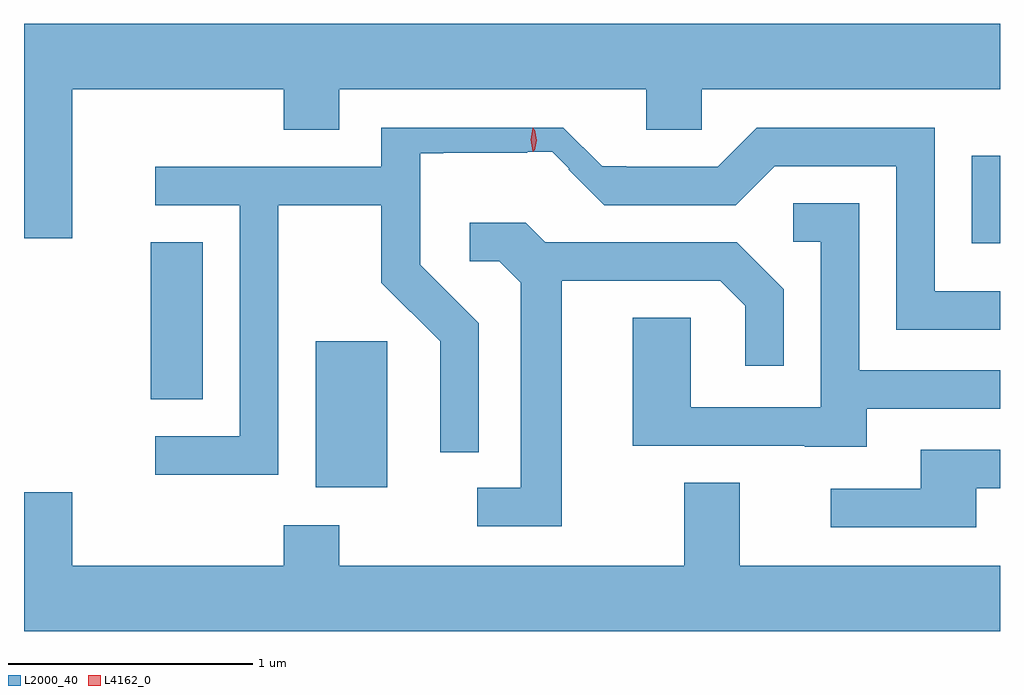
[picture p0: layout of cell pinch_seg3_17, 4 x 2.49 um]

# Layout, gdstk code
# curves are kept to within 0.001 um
import gdstk
lib = gdstk.Library(unit=1e-6, precision=1e-09)
def R(c, l, rs):  # rectangles x0, y0, x1, y1
    for r in rs: c.add(gdstk.rectangle(r[:2], r[2:], *l))
def P(c, l, *ps):  # polygons
    for p in ps: c.add(gdstk.Polygon(p, *l))
L2000_40 = (2000, 40)
L4162_0 = (4162, 0)

pinch_seg3_17 = lib.new_cell('pinch_seg3_17')
R(pinch_seg3_17, L2000_40, [(855.701,1242.046,855.994,1242.644), (855.026,1242.406,855.239,1243.049), (858.391,1243.046,858.506,1243.403)])
P(pinch_seg3_17, L2000_40, [(854.704,1243.676),(855.571,1243.676),(855.571,1243.511),(855.799,1243.511),(855.799,1243.676),(857.056,1243.676),(857.056,1243.511),(857.284,1243.511),(857.284,1243.676),(858.506,1243.676),(858.506,1243.944),(854.506,1243.944),(854.506,1243.066),(854.704,1243.066)],
  [(855.549,1243.201),(855.971,1243.201),(855.971,1242.884),(856.211,1242.644),(856.211,1242.188),(856.369,1242.188),(856.369,1242.717),(856.129,1242.957),(856.129,1243.415),(856.225,1243.415),(856.225,1243.417),(856.569,1243.417),(856.569,1243.42),(856.67,1243.42),(856.74,1243.35),(856.737,1243.348),(856.884,1243.201),(857.422,1243.201),(857.582,1243.361),(858.081,1243.361),(858.081,1242.691),(858.506,1242.691),(858.506,1242.849),(858.239,1242.849),(858.239,1243.519),(857.509,1243.519),(857.349,1243.359),(856.876,1243.36),(856.717,1243.519),(855.971,1243.519),(855.971,1243.359),(855.043,1243.359),(855.043,1243.201),(855.391,1243.201),(855.391,1242.254),(855.043,1242.254),(855.043,1242.096),(855.549,1242.096)],
  [(857.959,1242.366),(858.506,1242.366),(858.506,1242.524),(857.929,1242.524),(857.929,1243.209),(857.658,1243.209),(857.658,1243.051),(857.771,1243.051),(857.771,1242.374),(857.239,1242.374),(857.239,1242.739),(857.001,1242.739),(857.001,1242.216),(857.705,1242.216),(857.705,1242.211),(857.959,1242.211)],
  [(856.709,1242.891),(857.359,1242.891),(857.461,1242.789),(857.461,1242.543),(857.619,1242.543),(857.619,1242.857),(857.427,1243.049),(856.642,1243.049),(856.562,1243.129),(856.333,1243.129),(856.333,1242.971),(856.454,1242.971),(856.541,1242.884),(856.541,1242.044),(856.363,1242.044),(856.363,1241.886),(856.709,1241.886)],
  [(858.409,1242.041),(858.506,1242.041),(858.506,1242.199),(858.181,1242.199),(858.181,1242.039),(857.813,1242.039),(857.813,1241.881),(858.409,1241.881)],
  [(858.506,1241.724),(857.439,1241.724),(857.439,1242.064),(857.211,1242.064),(857.211,1241.724),(855.799,1241.724),(855.799,1241.889),(855.571,1241.889),(855.571,1241.724),(854.704,1241.724),(854.704,1242.024),(854.506,1242.024),(854.506,1241.456),(858.506,1241.456)])
P(pinch_seg3_17, L4162_0, [(856.592,1243.421),(856.583,1243.47),(856.592,1243.518),(856.593,1243.519),(856.594,1243.518),(856.603,1243.47),(856.594,1243.421),(856.593,1243.421)],
  [(856.598,1243.426),(856.598,1243.427),(856.588,1243.468),(856.598,1243.51),(856.598,1243.511),(856.599,1243.51),(856.608,1243.468),(856.599,1243.427)])

lib.write_gds('pinch_seg3_17.gds')
